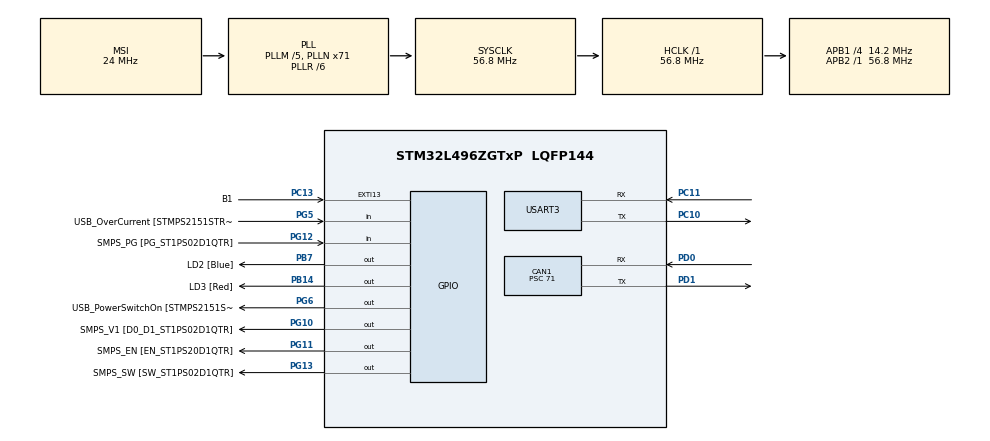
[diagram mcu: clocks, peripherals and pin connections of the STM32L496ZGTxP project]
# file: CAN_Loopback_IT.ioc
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CAN1.BS1=CAN_BS1_8TQ
CAN1.CalculateBaudRate=20000
CAN1.CalculateTimeBit=50000
CAN1.CalculateTimeQuantum=5000.0
CAN1.Mode=CAN_MODE_LOOPBACK
CAN1.NART=ENABLE
CAN1.Prescaler=71
Mcu.Family=STM32L4
Mcu.Name=STM32L496ZGTxP
Mcu.Package=LQFP144
NVIC.CAN1_RX0_IRQn=true\:0\:0\:false\:false\:true\:true\:true\:true
NVIC.CAN1_RX1_IRQn=true\:0\:0\:false\:false\:true\:true\:true\:true
NVIC.CAN1_SCE_IRQn=true\:0\:0\:false\:false\:true\:true\:true\:true
NVIC.CAN1_TX_IRQn=true\:0\:0\:false\:false\:true\:true\:true\:true
NVIC.PriorityGroup=NVIC_PRIORITYGROUP_4
PA10.GPIO_Label=USB_ID
PA10.Signal=USB_OTG_FS_ID
PA11.GPIO_Label=USB_DM
PA11.Signal=USB_OTG_FS_DM
PA12.GPIO_Label=USB_DP
PA12.Signal=USB_OTG_FS_DP
PA13\ (JTMS/SWDIO).GPIO_Label=TMS
PA13\ (JTMS/SWDIO).Mode=Trace_Asynchronous_SW
PA13\ (JTMS/SWDIO).Signal=SYS_JTMS-SWDIO
PA14\ (JTCK/SWCLK).GPIO_Label=TCK
PA14\ (JTCK/SWCLK).Mode=Trace_Asynchronous_SW
PA14\ (JTCK/SWCLK).Signal=SYS_JTCK-SWCLK
PA8.GPIO_Label=USB_SOF [TP1]
PA8.Signal=USB_OTG_FS_SOF
PA9.GPIO_Label=USB_VBUS
PA9.Signal=USB_OTG_FS_VBUS
PB14.GPIO_Label=LD3 [Red]
PB14.Signal=GPIO_Output
PB3\ (JTDO/TRACESWO).GPIO_Label=SWO
PB3\ (JTDO/TRACESWO).Mode=Trace_Asynchronous_SW
PB3\ (JTDO/TRACESWO).Signal=SYS_JTDO-SWO
PB7.GPIO_Label=LD2 [Blue]
PB7.Signal=GPIO_Output
PC10.Mode=Asynchronous
PC10.Signal=USART3_TX
PC11.Mode=Asynchronous
PC11.Signal=USART3_RX
PC13.GPIO_Label=B1
PC13.Signal=GPXTI13
PC14-OSC32_IN\ (PC14).Mode=LSE-External-Oscillator
PC14-OSC32_IN\ (PC14).Signal=RCC_OSC32_IN
PC15-OSC32_OUT\ (PC15).Mode=LSE-External-Oscillator
PC15-OSC32_OUT\ (PC15).Signal=RCC_OSC32_OUT
PD0.Mode=CAN_Activate
PD0.Signal=CAN1_RX
PD1.Mode=CAN_Activate
PD1.Signal=CAN1_TX
PG10.GPIO_Label=SMPS_V1 [D0_D1_ST1PS02D1QTR]
PG10.Signal=GPIO_Output
PG11.GPIO_Label=SMPS_EN [EN_ST1PS20D1QTR]
PG11.Signal=GPIO_Output
PG12.GPIO_Label=SMPS_PG [PG_ST1PS02D1QTR]
PG12.Signal=GPIO_Input
PG13.GPIO_Label=SMPS_SW [SW_ST1PS02D1QTR]
PG13.Signal=GPIO_Output
PG5.GPIO_Label=USB_OverCurrent [STMPS2151STR_FAULT]
PG5.Signal=GPIO_Input
PG6.GPIO_Label=USB_PowerSwitchOn [STMPS2151STR_EN]
PG6.Signal=GPIO_Output
PH0-OSC_IN\ (PH0).GPIO_Label=MCO
PH0-OSC_IN\ (PH0).Signal=RCC_OSC_IN
PH1-OSC_OUT\ (PH1).Signal=RCC_OSC_OUT
ProjectManager.HeapSize=0x200
ProjectManager.StackSize=0x400
ProjectManager.TargetToolchain=STM32CubeIDE
RCC.48MHZClocksFreq_Value=24000000
RCC.ADCFreq_Value=48000000
RCC.AHBFreq_Value=56800000
RCC.APB1CLKDivider=RCC_HCLK_DIV4
RCC.APB1Freq_Value=14200000
RCC.APB1TimFreq_Value=28400000
RCC.APB2Freq_Value=56800000
RCC.APB2TimFreq_Value=56800000
RCC.CortexFreq_Value=56800000
RCC.HCLKFreq_Value=56800000
RCC.HSE_VALUE=8000000
RCC.HSI48_VALUE=48000000
RCC.HSI_VALUE=16000000
RCC.MSIClockRange=RCC_MSIRANGE_9
RCC.MSI_VALUE=24000000
RCC.PLLM=5
RCC.PLLMUL=RCC_PLL_MUL9
RCC.PLLN=71
RCC.PLLR=RCC_PLLR_DIV6
RCC.PLLSAI1N=20
RCC.PRESCALERUSB=RCC_USBCLKSOURCE_PLL_DIV1_5
RCC.SYSCLKFreq_VALUE=56800000
RCC.SYSCLKSource=RCC_SYSCLKSOURCE_PLLCLK
RCC.SYSCLKSourceVirtual=RCC_SYSCLKSOURCE_PLLCLK
RCC.USBFreq_Value=48000000
RCC.VCOOutputFreq_Value=340800000
USART3.VirtualMode-Asynchronous=VM_ASYNC
board=NUCLEO-L496ZG-P

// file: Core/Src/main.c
/* USER CODE BEGIN Header */
/**
  ******************************************************************************
  * @file           : main.c
  * @brief          : Main program body
  ******************************************************************************
  * @attention
  *
  * Copyright (c) 2023 STMicroelectronics.
  * All rights reserved.
  *
  * This software is licensed under terms that can be found in the LICENSE file
  * in the root directory of this software component.
  * If no LICENSE file comes with this software, it is provided AS-IS.
  *
  ******************************************************************************
  */
/* USER CODE END Header */
#include "main.h"

/* USER CODE BEGIN Includes */
#include<string.h>
#include<stdio.h>
/* USER CODE END Includes */

CAN_HandleTypeDef hcan1;

UART_HandleTypeDef huart3;

void SystemClock_Config(void);
static void MX_GPIO_Init(void);
static void MX_CAN1_Init(void);
static void MX_USART3_UART_Init(void);
/* USER CODE BEGIN PFP */
void CAN1_Tx(void);
void CAN1_Rx(void);
void CAN1_Filter_Config(void);
/* USER CODE END PFP */

int main(void)
{
  /* USER CODE BEGIN 1 */
	char msg[50];
  /* USER CODE END 1 */

  /* MCU Configuration--------------------------------------------------------*/

  /* Reset of all peripherals, Initializes the Flash interface and the Systick. */
  HAL_Init();

  /* Configure the system clock */
  SystemClock_Config();

  /* Initialize all configured peripherals */
  MX_GPIO_Init();
  MX_CAN1_Init();
  MX_USART3_UART_Init();
  /* USER CODE BEGIN 2 */
  CAN1_Filter_Config();

  if( HAL_CAN_ActivateNotification(&hcan1,CAN_IT_TX_MAILBOX_EMPTY | CAN_IT_RX_FIFO0_MSG_PENDING | CAN_IT_BUSOFF) != HAL_OK){
	  Error_Handler();
  }

  HAL_GPIO_WritePin(GPIOB, GPIO_PIN_7, GPIO_PIN_SET);
    strcpy(msg,"Application is Running....\r\n");
    HAL_UART_Transmit(&huart3, (uint8_t*)msg, strlen(msg), HAL_MAX_DELAY);

    if(HAL_CAN_Start(&hcan1) != HAL_OK){
  	  Error_Handler();
    }

    CAN1_Tx();

    //CAN1_Rx();

  /* USER CODE END 2 */

  /* Infinite loop */
  while (1)
  {

  }
}

void SystemClock_Config(void)
{
  RCC_OscInitTypeDef RCC_OscInitStruct = {0};
  RCC_ClkInitTypeDef RCC_ClkInitStruct = {0};

  /** Configure the main internal regulator output voltage
  */
  if (HAL_PWREx_ControlVoltageScaling(PWR_REGULATOR_VOLTAGE_SCALE1) != HAL_OK)
  {
    Error_Handler();
  }

  /** Initializes the RCC Oscillators according to the specified parameters
  * in the RCC_OscInitTypeDef structure.
  */
  RCC_OscInitStruct.OscillatorType = RCC_OSCILLATORTYPE_MSI;
  RCC_OscInitStruct.MSIState = RCC_MSI_ON;
  RCC_OscInitStruct.MSICalibrationValue = 0;
  RCC_OscInitStruct.MSIClockRange = RCC_MSIRANGE_9;
  RCC_OscInitStruct.PLL.PLLState = RCC_PLL_ON;
  RCC_OscInitStruct.PLL.PLLSource = RCC_PLLSOURCE_MSI;
  RCC_OscInitStruct.PLL.PLLM = 5;
  RCC_OscInitStruct.PLL.PLLN = 71;
  RCC_OscInitStruct.PLL.PLLP = RCC_PLLP_DIV2;
  RCC_OscInitStruct.PLL.PLLQ = RCC_PLLQ_DIV2;
  RCC_OscInitStruct.PLL.PLLR = RCC_PLLR_DIV6;
  if (HAL_RCC_OscConfig(&RCC_OscInitStruct) != HAL_OK)
  {
    Error_Handler();
  }

  /** Initializes the CPU, AHB and APB buses clocks
  */
  RCC_ClkInitStruct.ClockType = RCC_CLOCKTYPE_HCLK|RCC_CLOCKTYPE_SYSCLK
                              |RCC_CLOCKTYPE_PCLK1|RCC_CLOCKTYPE_PCLK2;
  RCC_ClkInitStruct.SYSCLKSource = RCC_SYSCLKSOURCE_PLLCLK;
  RCC_ClkInitStruct.AHBCLKDivider = RCC_SYSCLK_DIV1;
  RCC_ClkInitStruct.APB1CLKDivider = RCC_HCLK_DIV4;
  RCC_ClkInitStruct.APB2CLKDivider = RCC_HCLK_DIV1;

  if (HAL_RCC_ClockConfig(&RCC_ClkInitStruct, FLASH_LATENCY_3) != HAL_OK)
  {
    Error_Handler();
  }
}

static void MX_CAN1_Init(void)
{

  hcan1.Instance = CAN1;
  hcan1.Init.Prescaler = 71;
  hcan1.Init.Mode = CAN_MODE_LOOPBACK;
  hcan1.Init.SyncJumpWidth = CAN_SJW_1TQ;
  hcan1.Init.TimeSeg1 = CAN_BS1_8TQ;
  hcan1.Init.TimeSeg2 = CAN_BS2_1TQ;
  hcan1.Init.TimeTriggeredMode = DISABLE;
  hcan1.Init.AutoBusOff = DISABLE;
  hcan1.Init.AutoWakeUp = DISABLE;
  hcan1.Init.AutoRetransmission = ENABLE;
  hcan1.Init.ReceiveFifoLocked = DISABLE;
  hcan1.Init.TransmitFifoPriority = DISABLE;
  if (HAL_CAN_Init(&hcan1) != HAL_OK)
  {
    Error_Handler();
  }

}

static void MX_USART3_UART_Init(void)
{

  huart3.Instance = USART3;
  huart3.Init.BaudRate = 115200;
  huart3.Init.WordLength = UART_WORDLENGTH_8B;
  huart3.Init.StopBits = UART_STOPBITS_1;
  huart3.Init.Parity = UART_PARITY_NONE;
  huart3.Init.Mode = UART_MODE_TX_RX;
  huart3.Init.HwFlowCtl = UART_HWCONTROL_NONE;
  huart3.Init.OverSampling = UART_OVERSAMPLING_16;
  huart3.Init.OneBitSampling = UART_ONE_BIT_SAMPLE_DISABLE;
  huart3.AdvancedInit.AdvFeatureInit = UART_ADVFEATURE_NO_INIT;
  if (HAL_UART_Init(&huart3) != HAL_OK)
  {
    Error_Handler();
  }

}

static void MX_GPIO_Init(void)
{
  GPIO_InitTypeDef GPIO_InitStruct = {0};

  /* GPIO Ports Clock Enable */
  __HAL_RCC_GPIOC_CLK_ENABLE();
  __HAL_RCC_GPIOH_CLK_ENABLE();
  __HAL_RCC_GPIOB_CLK_ENABLE();
  __HAL_RCC_GPIOG_CLK_ENABLE();
  HAL_PWREx_EnableVddIO2();
  __HAL_RCC_GPIOA_CLK_ENABLE();
  __HAL_RCC_GPIOD_CLK_ENABLE();

  /*Configure GPIO pin Output Level */
  HAL_GPIO_WritePin(GPIOB, LD3_Pin|LD2_Pin, GPIO_PIN_RESET);

  /*Configure GPIO pin Output Level */
  HAL_GPIO_WritePin(GPIOG, USB_PowerSwitchOn_Pin|SMPS_V1_Pin|SMPS_EN_Pin|SMPS_SW_Pin, GPIO_PIN_RESET);

  /*Configure GPIO pin : B1_Pin */
  GPIO_InitStruct.Pin = B1_Pin;
  GPIO_InitStruct.Mode = GPIO_MODE_IT_RISING;
  GPIO_InitStruct.Pull = GPIO_NOPULL;
  HAL_GPIO_Init(B1_GPIO_Port, &GPIO_InitStruct);

  /*Configure GPIO pins : LD3_Pin LD2_Pin */
  GPIO_InitStruct.Pin = LD3_Pin|LD2_Pin;
  GPIO_InitStruct.Mode = GPIO_MODE_OUTPUT_PP;
  GPIO_InitStruct.Pull = GPIO_NOPULL;
  GPIO_InitStruct.Speed = GPIO_SPEED_FREQ_LOW;
  HAL_GPIO_Init(GPIOB, &GPIO_InitStruct);

  /*Configure GPIO pins : USB_OverCurrent_Pin SMPS_PG_Pin */
  GPIO_InitStruct.Pin = USB_OverCurrent_Pin|SMPS_PG_Pin;
  GPIO_InitStruct.Mode = GPIO_MODE_INPUT;
  GPIO_InitStruct.Pull = GPIO_NOPULL;
  HAL_GPIO_Init(GPIOG, &GPIO_InitStruct);

  /*Configure GPIO pins : USB_PowerSwitchOn_Pin SMPS_V1_Pin SMPS_EN_Pin SMPS_SW_Pin */
  GPIO_InitStruct.Pin = USB_PowerSwitchOn_Pin|SMPS_V1_Pin|SMPS_EN_Pin|SMPS_SW_Pin;
  GPIO_InitStruct.Mode = GPIO_MODE_OUTPUT_PP;
  GPIO_InitStruct.Pull = GPIO_NOPULL;
  GPIO_InitStruct.Speed = GPIO_SPEED_FREQ_LOW;
  HAL_GPIO_Init(GPIOG, &GPIO_InitStruct);

  /*Configure GPIO pins : USB_SOF_Pin USB_ID_Pin USB_DM_Pin USB_DP_Pin */
  GPIO_InitStruct.Pin = USB_SOF_Pin|USB_ID_Pin|USB_DM_Pin|USB_DP_Pin;
  GPIO_InitStruct.Mode = GPIO_MODE_AF_PP;
  GPIO_InitStruct.Pull = GPIO_NOPULL;
  GPIO_InitStruct.Speed = GPIO_SPEED_FREQ_VERY_HIGH;
  GPIO_InitStruct.Alternate = GPIO_AF10_OTG_FS;
  HAL_GPIO_Init(GPIOA, &GPIO_InitStruct);

}

/* USER CODE BEGIN 4 */
void CAN1_Tx(void){

	CAN_TxHeaderTypeDef TxHeader;
	uint32_t TxMailbox;
	uint8_t our_msg[5]={'H','E','L','L','O'};

	TxHeader.DLC = 5;
	TxHeader.StdId = 0x65D;
	TxHeader.IDE = CAN_ID_STD;
	TxHeader.RTR = CAN_RTR_DATA ;

	if(HAL_CAN_AddTxMessage(&hcan1, &TxHeader, our_msg, &TxMailbox) != HAL_OK){
		Error_Handler();
	}

}

void CAN1_Rx(void){
	CAN_RxHeaderTypeDef RxHeader;
	uint8_t rcvd_msg[20];
	char msg[50];

	while(! HAL_CAN_GetRxFifoFillLevel(&hcan1,CAN_RX_FIFO0));

    if (HAL_CAN_GetRxMessage(&hcan1, CAN_RX_FIFO0 , &RxHeader, rcvd_msg) != HAL_OK){
    	Error_Handler();
    }

    sprintf(msg,"Message Received : %s \r\n",rcvd_msg);
    HAL_UART_Transmit(&huart3, (uint8_t*)msg, strlen(msg), HAL_MAX_DELAY);

}

void CAN1_Filter_Config(void){
	CAN_FilterTypeDef can1_filter_init;

	can1_filter_init.FilterActivation = CAN_FILTER_ENABLE;
	can1_filter_init.FilterBank = 0;
	can1_filter_init.FilterFIFOAssignment = CAN_FILTER_FIFO0;
	can1_filter_init.FilterIdHigh = 0x0000;
	can1_filter_init.FilterIdLow = 0x0000;
	can1_filter_init.FilterMaskIdHigh = 0x0000;
	can1_filter_init.FilterMaskIdLow = 0x0000;
	can1_filter_init.FilterMode = CAN_FILTERMODE_IDMASK;
	can1_filter_init.FilterScale = CAN_FILTERSCALE_32BIT;

	if( HAL_CAN_ConfigFilter(&hcan1, &can1_filter_init) != HAL_OK){
		Error_Handler();
	}
}

void HAL_CAN_TxMailbox0CompleteCallback(CAN_HandleTypeDef *hcan){
	char msg[50];
	strcpy(msg,"Message Transmitted via M0\r\n");
	HAL_UART_Transmit(&huart3, (uint8_t*)msg, strlen(msg), HAL_MAX_DELAY);
}
void HAL_CAN_TxMailbox1CompleteCallback(CAN_HandleTypeDef *hcan){
	char msg[50];
	strcpy(msg,"Message Transmitted via M1\r\n");
	HAL_UART_Transmit(&huart3, (uint8_t*)msg, strlen(msg), HAL_MAX_DELAY);
}
void HAL_CAN_TxMailbox2CompleteCallback(CAN_HandleTypeDef *hcan){
	char msg[50];
	strcpy(msg,"Message Transmitted via M2\r\n");
	HAL_UART_Transmit(&huart3, (uint8_t*)msg, strlen(msg), HAL_MAX_DELAY);
}
void HAL_CAN_RxFifo0MsgPendingCallback(CAN_HandleTypeDef *hcan){
	CAN_RxHeaderTypeDef RxHeader;
		uint8_t rcvd_msg[20];
		char msg[50];

	    if (HAL_CAN_GetRxMessage(&hcan1, CAN_RX_FIFO0 , &RxHeader, rcvd_msg) != HAL_OK){
	    	Error_Handler();
	    }

	    sprintf(msg,"Message Received : %s \r\n",rcvd_msg);
	    HAL_UART_Transmit(&huart3, (uint8_t*)msg, strlen(msg), HAL_MAX_DELAY);
}
void HAL_CAN_ErrorCallback(CAN_HandleTypeDef *hcan){
	char msg[50];
	strcpy(msg,"There is Some Error\r\n");
	HAL_UART_Transmit(&huart3, (uint8_t*)msg, strlen(msg), HAL_MAX_DELAY);
}
/* USER CODE END 4 */

void Error_Handler(void)
{
  __disable_irq();
  while (1)
  {
  }
}
